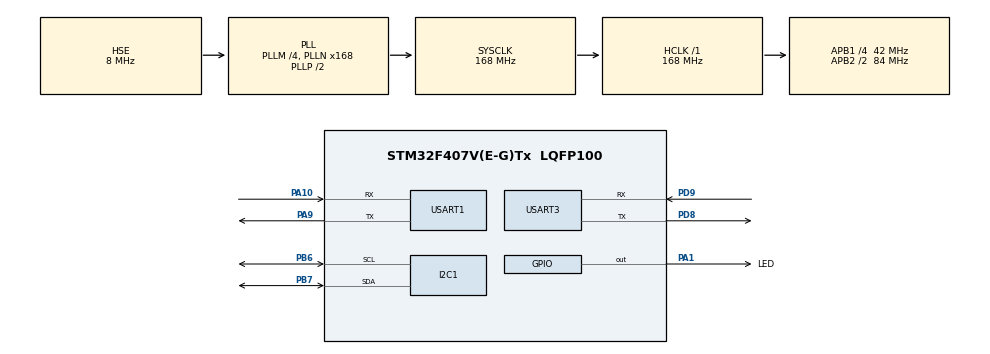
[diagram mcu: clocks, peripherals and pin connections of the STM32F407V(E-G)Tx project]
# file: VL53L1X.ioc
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Mcu.Family=STM32F4
NVIC.USART3_IRQn=true\:0\:0\:false\:false\:true\:true\:true
RCC.PLLSourceVirtual=RCC_PLLSOURCE_HSE
PC15-OSC32_OUT.Mode=LSE-External-Oscillator
PH0-OSC_IN.Signal=RCC_OSC_IN
RCC.CortexFreq_Value=168000000
PA10.Mode=Asynchronous
NVIC.TIM6_DAC_IRQn=true\:0\:0\:false\:false\:true\:true\:true
TIM6.Prescaler=83
VP_TIM6_VS_ClockSourceINT.Mode=Enable_Timer
PD9.Signal=USART3_RX
RCC.APB1CLKDivider=RCC_HCLK_DIV4
PC14-OSC32_IN.Signal=RCC_OSC32_IN
PD9.Mode=Asynchronous
RCC.SYSCLKSource=RCC_SYSCLKSOURCE_PLLCLK
ProjectManager.StackSize=0x1000
VP_TIM7_VS_ClockSourceINT.Mode=Enable_Timer
PA13.Signal=SYS_JTMS-SWDIO
PA9.Mode=Asynchronous
ProjectManager.TargetToolchain=STM32CubeIDE
RCC.HCLKFreq_Value=168000000
RCC.APB2TimFreq_Value=168000000
PA9.Signal=USART1_TX
PB6.Signal=I2C1_SCL
PB6.Mode=I2C
TIM7.Period=50000
PD8.Signal=USART3_TX
PC15-OSC32_OUT.Signal=RCC_OSC32_OUT
PD8.Mode=Asynchronous
PA1.Signal=GPIO_Output
RCC.AHBFreq_Value=168000000
PH0-OSC_IN.Mode=HSE-External-Oscillator
RCC.HSE_VALUE=8000000
TIM7.Prescaler=83
board=custom
RCC.VCOOutputFreq_Value=336000000
RCC.APB2Freq_Value=84000000
PC14-OSC32_IN.Mode=LSE-External-Oscillator
PA14.Mode=Serial_Wire
PA1.GPIO_Label=LED
PH1-OSC_OUT.Signal=RCC_OSC_OUT
PB7.Signal=I2C1_SDA
TIM6.Period=50000
PA13.Mode=Serial_Wire
Mcu.Name=STM32F407V(E-G)Tx
PH1-OSC_OUT.Mode=HSE-External-Oscillator
RCC.48MHZClocksFreq_Value=48000000
RCC.SYSCLKFreq_VALUE=168000000
Mcu.Package=LQFP100
USART3.VirtualMode=VM_ASYNC
USART1.VirtualMode=VM_ASYNC
PB7.Mode=I2C
PA10.Signal=USART1_RX
PA14.Signal=SYS_JTCK-SWCLK
ProjectManager.HeapSize=0x200
RCC.HSI_VALUE=16000000
RCC.PLLQ=7
NVIC.PriorityGroup=NVIC_PRIORITYGROUP_4
RCC.APB2CLKDivider=RCC_HCLK_DIV2
RCC.PLLM=4
RCC.PLLN=168
RCC.APB1TimFreq_Value=84000000
NVIC.USART1_IRQn=true\:0\:0\:false\:false\:true\:true\:true
RCC.APB1Freq_Value=42000000
NVIC.TIM7_IRQn=true\:0\:0\:false\:false\:true\:true\:true

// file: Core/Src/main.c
/* USER CODE BEGIN Header */
/**
  ******************************************************************************
  * @file           : main.c
  * @brief          : Main program body
  ******************************************************************************
  * @attention
  *
  * <h2><center>&copy; Copyright (c) 2021 STMicroelectronics.
  * All rights reserved.</center></h2>
  *
  * This software component is licensed by ST under BSD 3-Clause license,
  * the "License"; You may not use this file except in compliance with the
  * License. You may obtain a copy of the License at:
  *                        opensource.org/licenses/BSD-3-Clause
  *
  ******************************************************************************
  */
/* USER CODE END Header */
#include "main.h"
#include "i2c.h"
#include "tim.h"
#include "usart.h"
#include "gpio.h"

/* USER CODE BEGIN Includes */
#include "vl53l1_api.h"
#include "vl53l1_platform.h"
#include "serialplot.h"
/* USER CODE END Includes */

/* USER CODE BEGIN PTD */
VL53L1_Dev_t      dev;
VL53L1_DEV        Dev = &dev;
VL53L1_CalibrationData_t Calibration_Data;

/* USER CODE END PTD */

void SystemClock_Config(void);

/* USER CODE BEGIN 0 */
/**********************************************
// IIC Write Command
**********************************************/
void Write_IIC_Command(unsigned char IIC_Command)
{
	HAL_I2C_Mem_Write(&hi2c1 ,0x78,0x00,I2C_MEMADD_SIZE_8BIT,&IIC_Command,1,0x100);
}
/**********************************************
// IIC Write Data
**********************************************/
void Write_IIC_Data(unsigned char IIC_Data)
{
	HAL_I2C_Mem_Write(&hi2c1 ,0x78,0x40,I2C_MEMADD_SIZE_8BIT,&IIC_Data,1,0x100);
}

void OLED_WR_Byte(unsigned char dat,unsigned cmd)
{
	if(cmd)
	{
		HAL_I2C_Mem_Write(&hi2c1 ,0x78,0x40,I2C_MEMADD_SIZE_8BIT,&dat,1,0x100);
	}
	else
	{
		HAL_I2C_Mem_Write(&hi2c1 ,0x78,0x00,I2C_MEMADD_SIZE_8BIT,&dat,1,0x100);
	}

}
/* USER CODE END 0 */

int main(void)
{
  /* USER CODE BEGIN 1 */
	static VL53L1_RangingMeasurementData_t RangingData;
	VL53L1_UserRoi_t roiConfig;

	uint8_t byteData;
	uint8_t status;
	int16_t distance=0;
	uint16_t print_count = 0;
  /* USER CODE END 1 */

  /* MCU Configuration--------------------------------------------------------*/

  /* Reset of all peripherals, Initializes the Flash interface and the Systick. */
  HAL_Init();

  /* Configure the system clock */
  SystemClock_Config();

  /* Initialize all configured peripherals */
  MX_GPIO_Init();
  MX_USART1_UART_Init();
  MX_TIM7_Init();
  MX_TIM6_Init();
  MX_USART3_UART_Init();
  MX_I2C1_Init();
  /* USER CODE BEGIN 2 */
  HAL_TIM_Base_Start_IT(&htim6);
  HAL_TIM_Base_Start_IT(&htim7);

	printf("VL53L1X Examples...\n");
	Dev->I2cHandle = &hi2c1;
	Dev->I2cDevAddr = 0x52;
	Dev->comms_type = 1;
	Dev->comms_speed_khz = 400;

	status = VL53L1_RdByte(Dev, 0x010F, &byteData);
	printf("VL53L1X Model_ID: %x\r\n", byteData);
	HAL_Delay(500);
	status = VL53L1_RdByte(Dev, 0x0110, &byteData);
	printf("VL53L1X Module_Type: %x\r\n", byteData);
	HAL_Delay(500);

	printf("Autonomous Ranging Test\n");
	HAL_Delay(500);
	status = VL53L1_WaitDeviceBooted(Dev);
	status = VL53L1_DataInit(Dev);
	status = VL53L1_StaticInit(Dev);
	roiConfig.TopLeftX = 0;
	roiConfig.TopLeftY = 15;
	roiConfig.BotRightX = 15;
	roiConfig.BotRightY = 0;
	status = VL53L1_SetUserROI(Dev,&roiConfig);

	status = VL53L1_GetCalibrationData(Dev, &Calibration_Data);
	Calibration_Data.customer.algo__crosstalk_compensation_plane_offset_kcps = 2000;
	Calibration_Data.customer.algo__part_to_part_range_offset_mm = 156;
	Calibration_Data.customer.global_config__spad_enables_ref_0 = 255;
	Calibration_Data.customer.global_config__spad_enables_ref_1 = 255;
	Calibration_Data.customer.global_config__spad_enables_ref_2 = 255;
	Calibration_Data.customer.global_config__spad_enables_ref_3 = 255;
	Calibration_Data.customer.global_config__spad_enables_ref_4 = 255;
	Calibration_Data.customer.global_config__spad_enables_ref_5 = 255;
	Calibration_Data.customer.ref_spad_man__num_requested_ref_spads = 8;
	Calibration_Data.customer.ref_spad_man__ref_location = 1;
	status = VL53L1_SetCalibrationData(Dev, &Calibration_Data);

	status = VL53L1_SetDistanceMode(Dev, VL53L1_DISTANCEMODE_LONG);
	status = VL53L1_SetMeasurementTimingBudgetMicroSeconds(Dev, 50000);
	status = VL53L1_SetInterMeasurementPeriodMilliSeconds(Dev, 10);
	status = VL53L1_StartMeasurement(Dev);

	if(status){
		printf("VL53L1_StartMeasurement failed \n");
		while(1);
	}
	do // polling mode
		{
		  status = VL53L1_WaitMeasurementDataReady(Dev);
			if(!status)
			{
				status = VL53L1_GetRangingMeasurementData(Dev, &RangingData);
				if(status==0){
					SerialPlotFramePlotWord(RangingData.RangeMilliMeter,RangingData.RangeMilliMeter);
					distance = distance * 0.8f + RangingData.RangeMilliMeter * 0.2f;
					if(print_count++ >= 10)
					{
						print_count = 0;
//						printf("distance is: %d mm\r\n",distance);
//						SerialPlotFramePlotWord(distance,distance);
					}

//					printf("%d\r\n", RangingData.RangeMilliMeter);
				}
				status = VL53L1_ClearInterruptAndStartMeasurement(Dev);
			}
		}
		while (1);
/* USER CODE END 2 */

  /* Infinite loop */
  while (1)
  {

    /* USER CODE BEGIN 3 */
//	  uint8_t _iic_send = 0x0f;
//	  uint8_t _iic_read ;
//	  HAL_I2C_Mem_Write(&hi2c1 ,0x78,0x00,I2C_MEMADD_SIZE_8BIT,&_iic_send,1,0xFFFF);	//write datas
//	  HAL_I2C_Mem_Write(&hi2c1 ,0x78,0x40,I2C_MEMADD_SIZE_8BIT,&_iic_send,1,0xFFFF);	//write command
//	  HAL_I2C_Mem_Read(&hi2c1,0x78,0x00,I2C_MEMADD_SIZE_8BIT,&_iic_read,1,0xFFFF);		//read from sensor
	  HAL_Delay(500);
  }
  /* USER CODE END 3 */
}

void SystemClock_Config(void)
{
  RCC_OscInitTypeDef RCC_OscInitStruct = {0};
  RCC_ClkInitTypeDef RCC_ClkInitStruct = {0};

  /** Configure the main internal regulator output voltage
  */
  __HAL_RCC_PWR_CLK_ENABLE();
  __HAL_PWR_VOLTAGESCALING_CONFIG(PWR_REGULATOR_VOLTAGE_SCALE1);
  /** Initializes the RCC Oscillators according to the specified parameters
  * in the RCC_OscInitTypeDef structure.
  */
  RCC_OscInitStruct.OscillatorType = RCC_OSCILLATORTYPE_HSE;
  RCC_OscInitStruct.HSEState = RCC_HSE_ON;
  RCC_OscInitStruct.PLL.PLLState = RCC_PLL_ON;
  RCC_OscInitStruct.PLL.PLLSource = RCC_PLLSOURCE_HSE;
  RCC_OscInitStruct.PLL.PLLM = 4;
  RCC_OscInitStruct.PLL.PLLN = 168;
  RCC_OscInitStruct.PLL.PLLP = RCC_PLLP_DIV2;
  RCC_OscInitStruct.PLL.PLLQ = 7;
  if (HAL_RCC_OscConfig(&RCC_OscInitStruct) != HAL_OK)
  {
    Error_Handler();
  }
  /** Initializes the CPU, AHB and APB buses clocks
  */
  RCC_ClkInitStruct.ClockType = RCC_CLOCKTYPE_HCLK|RCC_CLOCKTYPE_SYSCLK
                              |RCC_CLOCKTYPE_PCLK1|RCC_CLOCKTYPE_PCLK2;
  RCC_ClkInitStruct.SYSCLKSource = RCC_SYSCLKSOURCE_PLLCLK;
  RCC_ClkInitStruct.AHBCLKDivider = RCC_SYSCLK_DIV1;
  RCC_ClkInitStruct.APB1CLKDivider = RCC_HCLK_DIV4;
  RCC_ClkInitStruct.APB2CLKDivider = RCC_HCLK_DIV2;

  if (HAL_RCC_ClockConfig(&RCC_ClkInitStruct, FLASH_LATENCY_5) != HAL_OK)
  {
    Error_Handler();
  }
}

void Error_Handler(void)
{
  __disable_irq();
  while (1)
  {
  }
}

/************************ (C) COPYRIGHT STMicroelectronics *****END OF FILE****/
